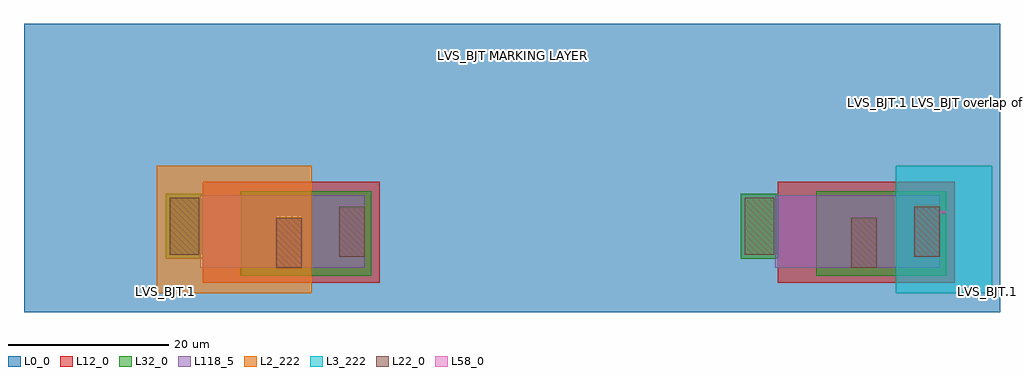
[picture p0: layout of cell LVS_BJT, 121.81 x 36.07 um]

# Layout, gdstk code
import gdstk
lib = gdstk.Library(unit=1e-6, precision=1e-09)
def R(c, l, rs):  # rectangles x0, y0, x1, y1
    for r in rs: c.add(gdstk.rectangle(r[:2], r[2:], *l))
def P(c, l, *ps):  # polygons
    for p in ps: c.add(gdstk.Polygon(p, *l))
L0_0 = (0, 0)
L2_222 = (2, 222)
L3_222 = (3, 222)
L12_0 = (12, 0)
L22_0 = (22, 0)
L32_0 = (32, 0)
L58_0 = (58, 0)
L118_5 = (118, 5)

lvs_bjt = lib.new_cell('LVS_BJT')
R(lvs_bjt, L0_0, [(-123.315,39.57,-108.32,60.08), (-108.32,39.57,-1.5,60.08), (-123.315,60.08,-1.5,67.86), (-123.315,67.86,-1.5,75.64)])
R(lvs_bjt, L2_222, [(-106.727,41.96,-87.393,57.855)])
R(lvs_bjt, L3_222, [(-14.522,41.96,-2.481,57.855)])
R(lvs_bjt, L12_0, [(-101.03,43.31,-78.91,55.9), (-29.26,43.31,-7.14,55.9)])
R(lvs_bjt, L22_0, [(-91.835,45.17,-88.625,51.425), (-20.065,45.17,-16.855,51.425), (-83.98,46.52,-80.77,52.775), (-12.21,46.52,-9,52.775), (-80.77,51.485,-80.765,52.775), (-9,51.485,-8.995,52.775)])
P(lvs_bjt, L22_0, [(-33.36,46.75),(-33.36,53.87),(-29.66,53.87),(-29.66,53.115),(-29.665,53.115),(-29.665,46.75)],
  [(-105.13,46.75),(-105.13,53.87),(-101.43,53.87),(-101.43,53.115),(-101.435,53.115),(-101.435,46.75)])
R(lvs_bjt, L32_0, [(-96.235,44.175,-80,54.71), (-24.465,44.175,-8.23,54.71)])
P(lvs_bjt, L32_0, [(-33.86,46.25),(-33.86,54.37),(-29.16,54.37),(-29.16,52.615),(-29.165,52.615),(-29.165,46.25)],
  [(-105.63,46.25),(-105.63,54.37),(-100.93,54.37),(-100.93,52.615),(-100.935,52.615),(-100.935,46.25)])
P(lvs_bjt, L58_0, [(-8.755,51.865),(-8.995,52.105),(-8.755,52.345),(-8.755,52.225),(-8.275,52.225),(-8.275,51.985),(-8.755,51.985)])
R(lvs_bjt, L118_5, [(-101.335,45.17,-80.77,54.21), (-29.565,45.17,-9,54.21)])
lvs_bjt.add(gdstk.Label('LVS_BJT.1', (-105.612,42.216), layer=11, texttype=222))
lvs_bjt.add(gdstk.Label('LVS_BJT.1', (-3.002,42.216), layer=11, texttype=222))
lvs_bjt.add(gdstk.Label('LVS_BJT.1 LVS_BJT overlap of all NPN COMP layers = 0', (-2.585,65.841), layer=58, texttype=0))
lvs_bjt.add(gdstk.Label('LVS_BJT MARKING LAYER', (-62.295,71.685), layer=58, texttype=0))

lib.write_gds('LVS_BJT.gds')
